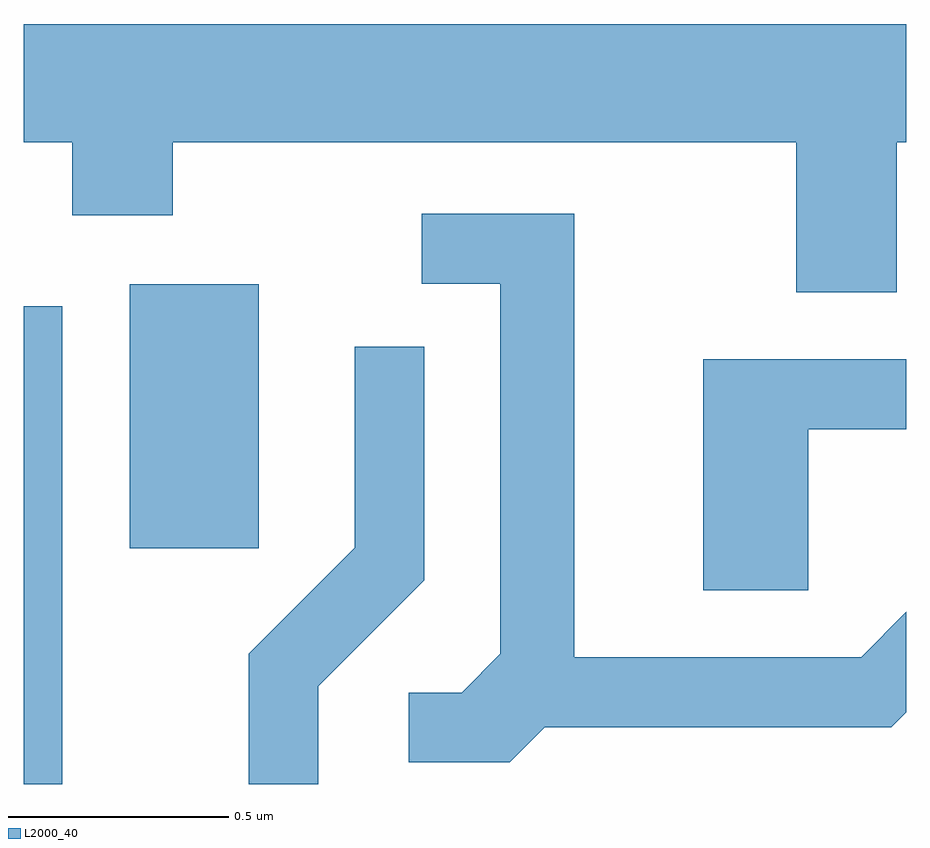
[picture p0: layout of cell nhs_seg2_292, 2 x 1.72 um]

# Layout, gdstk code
import gdstk
lib = gdstk.Library(unit=1e-6, precision=1e-09)
def R(c, l, rs):  # rectangles x0, y0, x1, y1
    for r in rs: c.add(gdstk.rectangle(r[:2], r[2:], *l))
def P(c, l, *ps):  # polygons
    for p in ps: c.add(gdstk.Polygon(p, *l))
L2000_40 = (2000, 40)

nhs_seg2_292 = lib.new_cell('nhs_seg2_292')
R(nhs_seg2_292, L2000_40, [(187.611,995.802,187.699,996.884), (187.851,996.336,188.144,996.934)])
P(nhs_seg2_292, L2000_40, [(189.589,997.256),(189.611,997.256),(189.611,997.524),(187.611,997.524),(187.611,997.256),(187.721,997.256),(187.721,997.091),(187.949,997.091),(187.949,997.256),(189.361,997.256),(189.361,996.916),(189.589,996.916)],
  [(188.792,995.931),(189.577,995.931),(189.611,995.965),(189.611,996.192),(189.509,996.089),(188.859,996.089),(188.859,997.094),(188.513,997.094),(188.513,996.936),(188.691,996.936),(188.691,996.097),(188.604,996.009),(188.483,996.009),(188.483,995.851),(188.712,995.851)],
  [(188.279,996.024),(188.519,996.264),(188.519,996.793),(188.361,996.793),(188.361,996.337),(188.121,996.097),(188.121,995.802),(188.279,995.802)],
  [(189.389,996.606),(189.611,996.606),(189.611,996.764),(189.151,996.764),(189.151,996.241),(189.389,996.241)])

lib.write_gds('nhs_seg2_292.gds')
